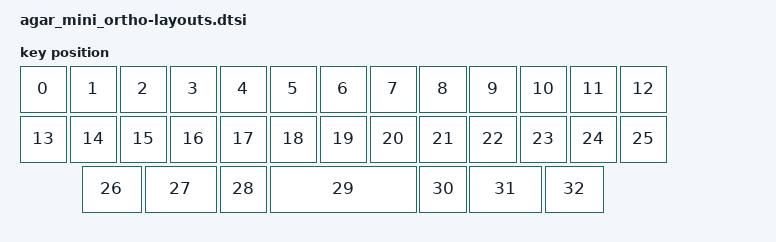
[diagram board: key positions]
// See https://zmk.dev/docs/development/hardware-integration/physical-layouts
// for how to configure this.

#include <physical_layouts.dtsi>

/ {
    physical_layout_agar_mini_ortho: physical_layout_agar_mini_ortho {
        compatible = "zmk,physical-layout";
        display-name = "Agar Mini Ortho";
        keys  //                     w   h    x    y     rot    rx    ry
            = <&key_physical_attrs 100 100    0(-25)       0     0 (-25)>
            , <&key_physical_attrs 100 100  100(-25)       0   100 (-25)>
            , <&key_physical_attrs 100 100  200(-25)       0   200 (-25)>
            , <&key_physical_attrs 100 100  300(-25)       0   300 (-25)>
            , <&key_physical_attrs 100 100  400(-25)       0   400 (-25)>
            , <&key_physical_attrs 100 100  500(-25)       0   500 (-25)>
            , <&key_physical_attrs 100 100  600(-25)       0   600 (-25)>
            , <&key_physical_attrs 100 100  700(-25)       0   700 (-25)>
            , <&key_physical_attrs 100 100  800(-25)       0   800 (-25)>
            , <&key_physical_attrs 100 100  900(-25)       0   900 (-25)>
            , <&key_physical_attrs 100 100 1000(-25)       0  1000 (-25)>
            , <&key_physical_attrs 100 100 1100(-25)       0  1100 (-25)>
            , <&key_physical_attrs 100 100 1200(-25)       0  1200 (-25)>
            , <&key_physical_attrs 100 100    0   75       0     0    75>
            , <&key_physical_attrs 100 100  100   75       0   100    75>
            , <&key_physical_attrs 100 100  200   75       0   200    75>
            , <&key_physical_attrs 100 100  300   75       0   300    75>
            , <&key_physical_attrs 100 100  400   75       0   400    75>
            , <&key_physical_attrs 100 100  500   75       0   500    75>
            , <&key_physical_attrs 100 100  600   75       0   600    75>
            , <&key_physical_attrs 100 100  700   75       0   700    75>
            , <&key_physical_attrs 100 100  800   75       0   800    75>
            , <&key_physical_attrs 100 100  900   75       0   900    75>
            , <&key_physical_attrs 100 100 1000   75       0  1000    75>
            , <&key_physical_attrs 100 100 1100   75       0  1100    75>
            , <&key_physical_attrs 100 100 1200   75       0  1200    75>
            , <&key_physical_attrs 100 100    0  175       0     0   175>
            , <&key_physical_attrs 100 100  100  175       0   100   175>
            , <&key_physical_attrs 100 100  200  175       0   200   175>
            , <&key_physical_attrs 100 100  300  175       0   300   175>
            , <&key_physical_attrs 100 100  400  175       0   400   175>
            , <&key_physical_attrs 100 100  500  175       0   500   175>
            , <&key_physical_attrs 100 100  600  175       0   600   175>
            , <&key_physical_attrs 100 100  700  175       0   700   175>
            , <&key_physical_attrs 100 100  800  175       0   800   175>
            , <&key_physical_attrs 100 100  900  175       0   900   175>
            , <&key_physical_attrs 100 100 1000  175       0  1000   175>
            , <&key_physical_attrs 100 100 1100  175       0  1100   175>
            , <&key_physical_attrs 100 100 1200  175       0  1200   175>
            , <&key_physical_attrs 125 100  125  275       0   125   275>
            , <&key_physical_attrs 150 100  250  275       0   250   275>
            , <&key_physical_attrs 100 100  400  275       0   400   275>
            , <&key_physical_attrs 300 100  500  275       0   500   275>
            , <&key_physical_attrs 100 100  800  275       0   800   275>
            , <&key_physical_attrs 150 100  900  275       0   900   275>
            , <&key_physical_attrs 125 100 1050  275       0  1050   275>
            ;
    };
};
